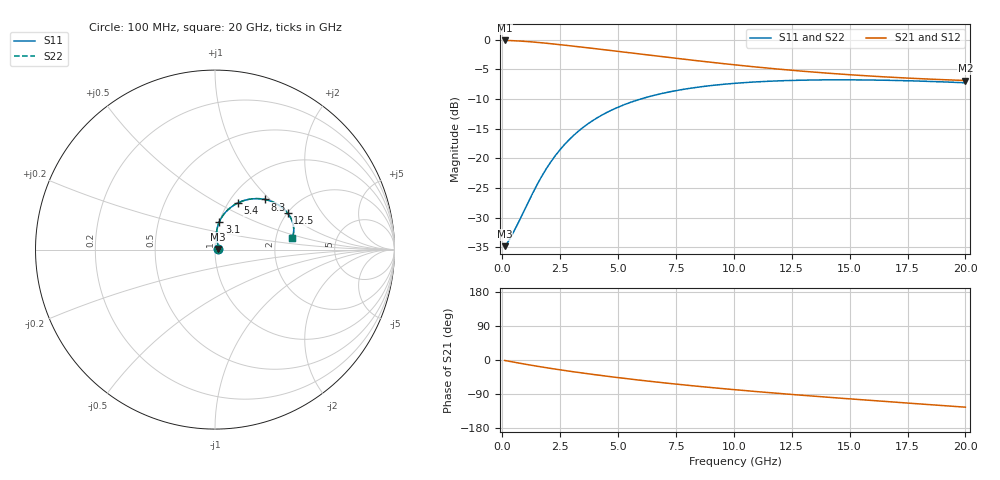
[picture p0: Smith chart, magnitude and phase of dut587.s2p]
! Touchstone file exported from HFSS 2024.1.0
!  File:  C:/UserFiles/LocalFiles/RDL_TSV_Batchsim/temp_RDL_TSV_587_1779758353.aedt
!  Generated:  09:35:35 AM May 26, 2026
!  Design:  RDL_TSV
!  Project:  temp_RDL_TSV_587_1779758353
!  Setup:  Setup1
!  Solution:  Sweep
! Variables:
!  dtsv = 8.29um
!  hbump = 3um
!  htsv = 50.57um
!  ldown = 276.4um
!  lrdl = 233.32um
!  p = 40
!  p1 = 56.61um
!  rhole = 10um
!  subl = 1762.48um
!  t = 450um
!  tdown = 2.33um
!  trdl = 2.13um
!  viad = 10um
!  wdown = 11.14um
!  wrdl = 25.82um
!  xbump = 18um
# GHz S MA R 50.000000
! Terminal data exported
! Port[1] = TM1_1_T1
! Port[2] = TM1_4_T1
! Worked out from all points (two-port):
!   200 points, 100 MHz to 20 GHz, reference 50 ohm
!   highest |S21| = -0.16 dB at 100 MHz (marker M1); lowest = -6.9 dB at 20 GHz (marker M2)
!   |S21| within 3 dB of the highest: start of sweep to 7.5 GHz
!   lowest |S11| = -34.8 dB at 100 MHz (marker M3), VSWR 1.04, Z = 51.8 + j0.364 ohm
!   |S11| at or under -10 dB: start of sweep to 5.994 GHz
!   |S22| runs from -34.8 to -6.8 dB; largest |S21 - S12| = 1.1e-14
!   S11 on the Smith chart (normalised r, x): 100 MHz: 1.04, +0.01; 3.1 GHz: 1.00, +0.32; 5.4 GHz: 1.11, +0.63; 8.3 GHz: 1.41, +0.93; 12.5 GHz: 2.01, +1.03; 20 GHz: 2.45, +0.38
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0.1  0.01821 11.1  0.9819 -1.2  0.9819 -1.2  0.01821 11.1
! Gamma 0 0 0 0
! Port Impedance 50 0 50 0
0.2  0.01917 21.3  0.9811 -2.3  0.9811 -2.3  0.01917 21.3
0.4  0.02229 38.0  0.9784 -4.6  0.9784 -4.6  0.02229 38.0
0.9  0.03473 65.5  0.9669 -10.1  0.9669 -10.1  0.03473 65.5
1.4  0.05491 79.6  0.9503 -15.4  0.9503 -15.4  0.05493 79.6
1.9  0.08163 84.5  0.9305 -20.4  0.9305 -20.4  0.08168 84.5
2.2  0.09967 84.9  0.9177 -23.2  0.9177 -23.2  0.09973 84.9
2.5  0.1185 84.2  0.9046 -26.0  0.9046 -26.0  0.1186 84.3
3.1  0.1572 81.1  0.878 -31.3  0.878 -31.3  0.1573 81.2
3.5  0.1827 78.3  0.8602 -34.7  0.8602 -34.7  0.1828 78.4
3.9  0.2074 75.3  0.8425 -37.9  0.8425 -37.9  0.2076 75.4
4.4  0.2367 71.5  0.8207 -41.9  0.8207 -41.9  0.237 71.5
5.4  0.2892 63.9  0.778 -49.4  0.778 -49.4  0.2895 63.9
6.1  0.3207 58.9  0.7492 -54.4  0.7492 -54.4  0.3211 58.9
6.8  0.348 54.2  0.7215 -59.1  0.7215 -59.1  0.3484 54.2
8.3  0.3934 45.2  0.6667 -68.5  0.6667 -68.5  0.3938 45.3
10.1  0.4287 36.3  0.6103 -78.7  0.6103 -78.7  0.4292 36.3
12.5  0.4524 26.7  0.5507 -90.9  0.5507 -90.9  0.453 26.8
13.4  0.4562 23.7  0.5326 -95.2  0.5326 -95.2  0.4568 23.8
15  0.4577 19.0  0.5053 -102.6  0.5053 -102.6  0.4583 19.0
16.7  0.4535 14.7  0.4824 -110.1  0.4824 -110.1  0.454 14.8
20  0.4322 8.4  0.4517 -124.5  0.4517 -124.5  0.4328 8.5
